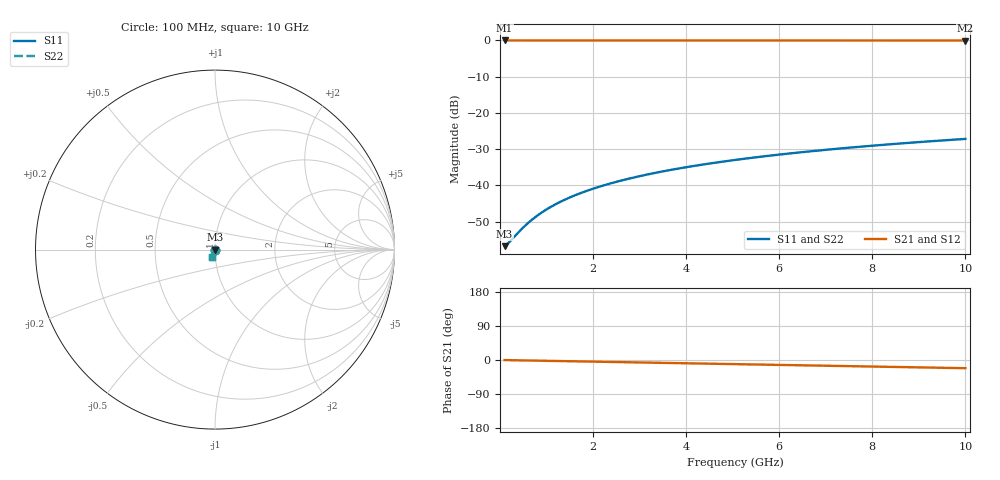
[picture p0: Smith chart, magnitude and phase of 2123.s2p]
# Hz S RI R 50.00
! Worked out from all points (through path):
!   100 points, 100 MHz to 10 GHz, reference 50 ohm
!   highest |S21| = -0.01 dB at 100 MHz (marker M1); lowest = 0.0 dB at 10 GHz (marker M2)
!   group delay of S21, straight-line fit = 6.01 ps
!   lowest |S11| = -56.8 dB at 100 MHz (marker M3), VSWR 1.00, Z = 50.1 - j0.0451 ohm
!   |S11| at or under -10 dB: start of sweep to end of sweep
!   |S22| runs from -56.8 to -27.2 dB; largest |S21 - S12| = 0
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1e8  0.00138 -0.00045  0.9986 -0.00376  0.9986 -0.00376  0.00138 -0.00045
2e8  0.00138 -0.0009  0.9986 -0.00751  0.9986 -0.00751  0.00138 -0.0009
4e8  0.00137 -0.0018  0.9985 -0.015  0.9985 -0.015  0.00137 -0.0018
5e8  0.00136 -0.00225  0.9984 -0.0188  0.9984 -0.0188  0.00136 -0.00225
6e8  0.00134 -0.0027  0.9983 -0.0225  0.9983 -0.0225  0.00134 -0.0027
7e8  0.00132 -0.00315  0.9982 -0.0263  0.9982 -0.0263  0.00132 -0.00315
9e8  0.00127 -0.00405  0.998 -0.0338  0.998 -0.0338  0.00127 -0.00405
1.1e9  0.00121 -0.00494  0.9977 -0.0413  0.9977 -0.0413  0.00121 -0.00494
1.3e9  0.00113 -0.00584  0.9973 -0.0488  0.9973 -0.0488  0.00113 -0.00584
1.5e9  0.00103 -0.00674  0.9969 -0.0563  0.9969 -0.0563  0.00103 -0.00674
1.8e9  0.000869 -0.00808  0.9962 -0.0676  0.9962 -0.0676  0.000869 -0.00808
2.1e9  0.000673 -0.00942  0.9953 -0.0788  0.9953 -0.0788  0.000673 -0.00942
2.5e9  0.000364 -0.0112  0.994 -0.0938  0.994 -0.0938  0.000364 -0.0112
2.9e9  1.62e-06 -0.013  0.9924 -0.1088  0.9924 -0.1088  1.62e-06 -0.013
3.4e9  -0.000527 -0.0152  0.9902 -0.1274  0.9902 -0.1274  -0.000527 -0.0152
4.2e9  -0.00154 -0.0186  0.9858 -0.1572  0.9858 -0.1572  -0.00154 -0.0186
5.1e9  -0.00294 -0.0225  0.9798 -0.1906  0.9798 -0.1906  -0.00294 -0.0225
5.9e9  -0.00439 -0.0258  0.9734 -0.22  0.9734 -0.22  -0.00439 -0.0258
6.7e9  -0.00605 -0.029  0.9662 -0.2493  0.9662 -0.2493  -0.00605 -0.029
7.5e9  -0.0079 -0.0322  0.9581 -0.2784  0.9581 -0.2784  -0.0079 -0.0322
8.4e9  -0.0102 -0.0356  0.9479 -0.3108  0.9479 -0.3108  -0.0102 -0.0356
1e10  -0.0148 -0.0412  0.927 -0.3675  0.927 -0.3675  -0.0148 -0.0412
